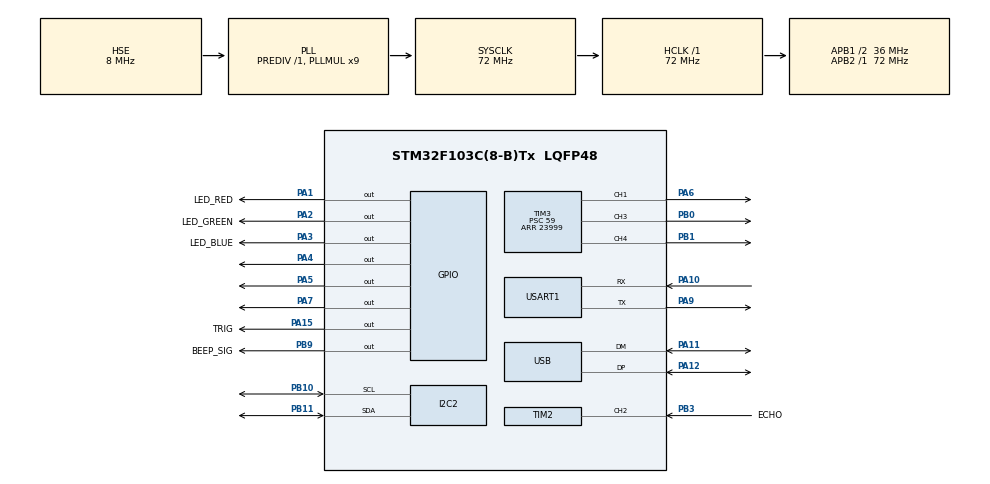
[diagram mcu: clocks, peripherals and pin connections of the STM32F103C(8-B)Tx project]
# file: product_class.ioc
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Dma.Request0=USART1_RX
Dma.Request1=USART1_TX
Dma.USART1_RX.0.Direction=DMA_PERIPH_TO_MEMORY
Dma.USART1_RX.0.Instance=DMA1_Channel5
Dma.USART1_RX.0.MemDataAlignment=DMA_MDATAALIGN_BYTE
Dma.USART1_RX.0.MemInc=DMA_MINC_ENABLE
Dma.USART1_RX.0.Mode=DMA_NORMAL
Dma.USART1_RX.0.PeriphDataAlignment=DMA_PDATAALIGN_BYTE
Dma.USART1_RX.0.PeriphInc=DMA_PINC_DISABLE
Dma.USART1_RX.0.Priority=DMA_PRIORITY_LOW
Dma.USART1_TX.1.Direction=DMA_MEMORY_TO_PERIPH
Dma.USART1_TX.1.Instance=DMA1_Channel4
Dma.USART1_TX.1.MemDataAlignment=DMA_MDATAALIGN_BYTE
Dma.USART1_TX.1.MemInc=DMA_MINC_ENABLE
Dma.USART1_TX.1.Mode=DMA_NORMAL
Dma.USART1_TX.1.PeriphDataAlignment=DMA_PDATAALIGN_BYTE
Dma.USART1_TX.1.PeriphInc=DMA_PINC_DISABLE
Dma.USART1_TX.1.Priority=DMA_PRIORITY_LOW
Mcu.Family=STM32F1
Mcu.Name=STM32F103C(8-B)Tx
Mcu.Package=LQFP48
NVIC.DMA1_Channel4_IRQn=true\:0\:0\:false\:false\:true\:false\:true\:true
NVIC.DMA1_Channel5_IRQn=true\:0\:0\:false\:false\:true\:false\:true\:true
NVIC.PriorityGroup=NVIC_PRIORITYGROUP_4
NVIC.TIM2_IRQn=true\:0\:0\:false\:false\:true\:true\:true\:true
NVIC.USART1_IRQn=true\:0\:0\:false\:false\:true\:true\:true\:true
NVIC.USB_LP_CAN1_RX0_IRQn=true\:0\:0\:false\:false\:true\:false\:true\:true
PA1.GPIO_Label=LED_RED
PA1.GPIO_PuPd=GPIO_NOPULL
PA1.Signal=GPIO_Output
PA10.Mode=Asynchronous
PA10.Signal=USART1_RX
PA11.Mode=Device
PA11.Signal=USB_DM
PA12.Mode=Device
PA12.Signal=USB_DP
PA13.Mode=Serial_Wire
PA13.Signal=SYS_JTMS-SWDIO
PA14.Mode=Serial_Wire
PA14.Signal=SYS_JTCK-SWCLK
PA15.GPIO_Label=TRIG
PA15.Signal=GPIO_Output
PA2.GPIO_Label=LED_GREEN
PA2.Signal=GPIO_Output
PA3.GPIO_Label=LED_BLUE
PA3.Signal=GPIO_Output
PA4.Signal=GPIO_Output
PA5.Signal=GPIO_Output
PA6.Signal=S_TIM3_CH1
PA7.Signal=GPIO_Output
PA9.Mode=Asynchronous
PA9.Signal=USART1_TX
PB0.Signal=S_TIM3_CH3
PB1.Signal=S_TIM3_CH4
PB10.Mode=I2C
PB10.Signal=I2C2_SCL
PB11.Mode=I2C
PB11.Signal=I2C2_SDA
PB3.GPIO_Label=ECHO
PB3.GPIO_PuPd=GPIO_NOPULL
PB3.Signal=S_TIM2_CH2
PB9.GPIO_Label=BEEP_SIG
PB9.Signal=GPIO_Output
PD0-OSC_IN.Mode=HSE-External-Oscillator
PD0-OSC_IN.Signal=RCC_OSC_IN
PD1-OSC_OUT.Mode=HSE-External-Oscillator
PD1-OSC_OUT.Signal=RCC_OSC_OUT
ProjectManager.HeapSize=0x200
ProjectManager.StackSize=0x400
ProjectManager.TargetToolchain=MDK-ARM V5.32
RCC.AHBFreq_Value=72000000
RCC.APB1CLKDivider=RCC_HCLK_DIV2
RCC.APB1Freq_Value=36000000
RCC.APB1TimFreq_Value=72000000
RCC.APB2Freq_Value=72000000
RCC.APB2TimFreq_Value=72000000
RCC.HCLKFreq_Value=72000000
RCC.PLLMUL=RCC_PLL_MUL9
RCC.PLLSourceVirtual=RCC_PLLSOURCE_HSE
RCC.SYSCLKFreq_VALUE=72000000
RCC.SYSCLKSource=RCC_SYSCLKSOURCE_PLLCLK
RCC.USBFreq_Value=72000000
SH.S_TIM2_CH2.0=TIM2_CH2,Input_Capture2_from_TI2
SH.S_TIM3_CH1.0=TIM3_CH1,PWM Generation1 CH1
SH.S_TIM3_CH3.0=TIM3_CH3,PWM Generation3 CH3
SH.S_TIM3_CH4.0=TIM3_CH4,PWM Generation4 CH4
TIM2.AutoReloadPreload=TIM_AUTORELOAD_PRELOAD_ENABLE
TIM2.Channel-Input_Capture1_from_TI2_63=TIM_CHANNEL_1
TIM2.Channel-Input_Capture2_from_TI2=TIM_CHANNEL_2
TIM2.ICPolarity_CH1=TIM_INPUTCHANNELPOLARITY_FALLING
TIM2.Period=65535
TIM2.Prescaler=72-1
TIM3.AutoReloadPreload=TIM_AUTORELOAD_PRELOAD_ENABLE
TIM3.Channel-PWM\ Generation1\ CH1=TIM_CHANNEL_1
TIM3.Channel-PWM\ Generation3\ CH3=TIM_CHANNEL_3
TIM3.Channel-PWM\ Generation4\ CH4=TIM_CHANNEL_4
TIM3.Period=23999
TIM3.Prescaler=59
TIM3.TIM_MasterOutputTrigger=TIM_TRGO_RESET
TIM3.TIM_MasterSlaveMode=TIM_MASTERSLAVEMODE_DISABLE
USART1.VirtualMode=VM_ASYNC
USB_DEVICE.CLASS_NAME_FS=CDC
USB_DEVICE.VirtualMode=Cdc
USB_DEVICE.VirtualModeFS=Cdc_FS
VP_TIM2_VS_ClockSourceINT.Mode=Internal
VP_TIM2_VS_indirect_ch2.Mode=Input_Capture1_from_TI2_63
VP_TIM3_VS_ClockSourceINT.Mode=Internal
VP_USB_DEVICE_VS_USB_DEVICE_CDC_FS.Mode=CDC_FS
board=custom

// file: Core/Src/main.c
/* USER CODE BEGIN Header */
/**
 ******************************************************************************
 * @file           : main.c
 * @brief          : Main program body
 ******************************************************************************
 * @attention
 *
 * Copyright (c) 2025 STMicroelectronics.
 * All rights reserved.
 *
 * This software is licensed under terms that can be found in the LICENSE file
 * in the root directory of this software component.
 * If no LICENSE file comes with this software, it is provided AS-IS.
 *
 ******************************************************************************
 */
/* USER CODE END Header */
#include "main.h"
#include "dma.h"
#include "i2c.h"
#include "tim.h"
#include "usart.h"
#include "usb_device.h"
#include "gpio.h"

/* USER CODE BEGIN Includes */
#include "headfile.h"

/* USER CODE END Includes */

/* USER CODE BEGIN PV */
unsigned char BMP1[] =
{
	0x00,0x03,0x05,0x09,0x11,0xFF,0x11,0x89,0x05,0xC3,0x00,0xE0,0x00,0xF0,0x00,0xF8,
	0x00,0x00,0x00,0x00,0x00,0x00,0x00,0x44,0x28,0xFF,0x11,0xAA,0x44,0x00,0x00,0x00,
	0x00,0x00,0x00,0x00,0x00,0x00,0x00,0x00,0x00,0x00,0x00,0x00,0x00,0x00,0x00,0x00,
	0x00,0x00,0x00,0x00,0x00,0x00,0x00,0x00,0x00,0x00,0x00,0x00,0x00,0x00,0x00,0x00,
	0x00,0x00,0x00,0x00,0x00,0x00,0x00,0x00,0x00,0x00,0x00,0x00,0x00,0x00,0x00,0x00,
	0x00,0x00,0x00,0x00,0x00,0x00,0x00,0x00,0x00,0x00,0x83,0x01,0x38,0x44,0x82,0x92,
	0x92,0x74,0x01,0x83,0x00,0x00,0x00,0x00,0x00,0x00,0x00,0x7C,0x44,0xC7,0x01,0x7D,
	0x7D,0x7D,0x7D,0x01,0x7D,0x7D,0x7D,0x7D,0x01,0x7D,0x7D,0x7D,0x7D,0x01,0xFF,0x00,
	0x00,0x00,0x00,0x00,0x00,0x01,0x00,0x01,0x00,0x01,0x00,0x01,0x00,0x01,0x00,0x01,
	0x00,0x00,0x00,0x00,0x00,0x00,0x00,0x00,0x00,0x01,0x01,0x00,0x00,0x00,0x00,0x00,
	0x00,0x00,0x00,0x00,0x00,0x00,0x00,0x00,0x00,0x00,0x00,0x00,0x00,0x00,0x00,0x00,
	0x00,0x00,0x00,0x00,0x00,0x00,0x00,0x00,0x00,0x00,0x00,0x00,0x00,0x00,0x00,0x00,
	0x00,0x00,0x00,0x00,0x00,0x00,0x00,0x00,0x00,0x00,0x00,0x00,0x00,0x00,0x00,0x00,
	0x00,0x00,0x00,0x00,0x00,0x00,0x00,0x00,0x00,0x00,0x01,0x01,0x00,0x00,0x00,0x00,
	0x00,0x00,0x01,0x01,0x00,0x00,0x00,0x00,0x00,0x00,0x00,0x00,0x00,0x01,0x01,0x01,
	0x01,0x01,0x01,0x01,0x01,0x01,0x01,0x01,0x01,0x01,0x01,0x01,0x01,0x01,0x01,0x00,
	0x00,0x00,0x00,0x00,0x00,0x00,0x00,0x00,0x00,0x40,0x40,0x40,0x40,0x40,0x00,0x00,
	0x6D,0x6D,0x6D,0x6D,0x6D,0x00,0x00,0x60,0x60,0x60,0x60,0x60,0x00,0x00,0x40,0x40,
	0x40,0x40,0x40,0x00,0x00,0x00,0x00,0x00,0x00,0x00,0x00,0x00,0x00,0x00,0x00,0x00,
	0x00,0x00,0x00,0x00,0x00,0x00,0x00,0x00,0x00,0x00,0x00,0x00,0x00,0x00,0x00,0x00,
	0x00,0x00,0x00,0x00,0x00,0x00,0x00,0x00,0x00,0x00,0x00,0x00,0x00,0x00,0x00,0x00,
	0x00,0x00,0x00,0x00,0x00,0x00,0x00,0x00,0x00,0x00,0x00,0x00,0x00,0x00,0x00,0x00,
	0x00,0x00,0x00,0x00,0x00,0x00,0x00,0x00,0x00,0x00,0x00,0x00,0x00,0x00,0x00,0x00,
	0x00,0x00,0x00,0x00,0x00,0x00,0x00,0x00,0x00,0x00,0x00,0x00,0x00,0x00,0x00,0x00,
	0x00,0x00,0x00,0x00,0x00,0x00,0x00,0x00,0x00,0xDB,0xDB,0xDB,0xDB,0xDB,0x00,0x00,
	0xDB,0xDB,0xDB,0xDB,0xDB,0x00,0x00,0xDB,0xDB,0xDB,0xDB,0xDB,0x00,0x00,0xDB,0xDB,
	0xDB,0xDB,0xDB,0x00,0x00,0xDA,0xDA,0xDA,0xDA,0xDA,0x00,0x00,0xD8,0xD8,0xD8,0xD8,
	0xD8,0x00,0x00,0xC0,0xC0,0xC0,0xC0,0xC0,0x00,0x00,0xC0,0xC0,0xC0,0xC0,0xC0,0x00,
	0x00,0xC0,0xC0,0xC0,0xC0,0xC0,0x00,0x00,0xC0,0xC0,0xC0,0xC0,0xC0,0x00,0x00,0x80,
	0x80,0x80,0x80,0x80,0x00,0x00,0x00,0x00,0x00,0x00,0x00,0x00,0x00,0x00,0x00,0x00,
	0x00,0x00,0x00,0x00,0x00,0x00,0x00,0x00,0x00,0x00,0x00,0x00,0x00,0x00,0x00,0x00,
	0x00,0x00,0x00,0x00,0x00,0x00,0x00,0x00,0x00,0x00,0x00,0x00,0x00,0x00,0x00,0x00,
	0x00,0x00,0x00,0x00,0x00,0x00,0x00,0x00,0x00,0x06,0x06,0x06,0x06,0x06,0x00,0x00,
	0x06,0x06,0x06,0x06,0x06,0x00,0x00,0x06,0x06,0x06,0x06,0x06,0x00,0x00,0x06,0x06,
	0x06,0x06,0x06,0x00,0x00,0x06,0x06,0x06,0xE6,0x66,0x20,0x00,0x06,0x06,0x86,0x06,
	0x06,0x00,0x00,0x06,0x06,0x06,0x06,0x86,0x00,0x00,0x06,0x06,0x06,0x06,0x06,0x00,
	0x00,0x86,0x86,0x86,0x86,0x86,0x80,0x80,0x86,0x86,0x06,0x86,0x86,0xC0,0xC0,0x86,
	0x86,0x86,0x06,0x06,0xD0,0x30,0x76,0x06,0x06,0x06,0x06,0x00,0x00,0x06,0x06,0x06,
	0x06,0x06,0x00,0x00,0x06,0x06,0x06,0x06,0x06,0x00,0x00,0x06,0x06,0x06,0x06,0x06,
	0x00,0x00,0x06,0x06,0x06,0x06,0x06,0x00,0x00,0x00,0x00,0x00,0x00,0x00,0x00,0x00,
	0x00,0x00,0x00,0x00,0x00,0x00,0x00,0x00,0x00,0x00,0x00,0x00,0x00,0x00,0x00,0x00,
	0x00,0x00,0x00,0x00,0x00,0x00,0x00,0x00,0x00,0x00,0x00,0x00,0x00,0x00,0x00,0x00,
	0x00,0x00,0x00,0x00,0x00,0x00,0x00,0x00,0x00,0x00,0x60,0x1C,0x00,0xFE,0x00,0x01,
	0x02,0x00,0xC4,0x18,0x20,0x02,0x9E,0x63,0xB2,0x0E,0x00,0xFF,0x81,0x81,0xFF,0x00,
	0x00,0x80,0x40,0x30,0x0F,0x00,0x00,0x00,0x00,0xFF,0x00,0x23,0xEA,0xAA,0xBF,0xAA,
	0xEA,0x03,0x3F,0x00,0xFF,0x00,0x00,0x00,0x00,0x00,0x00,0x00,0x00,0x00,0x00,0x00,
	0x00,0x00,0x00,0x00,0x00,0x00,0x00,0x00,0x00,0x00,0x00,0x00,0x00,0x00,0x00,0x00,
	0x00,0x00,0x00,0x00,0x00,0x00,0x00,0x00,0x00,0x00,0x00,0x00,0x00,0x00,0x00,0x00,
	0x00,0x00,0x00,0x80,0x80,0x80,0x00,0x00,0x00,0x00,0x00,0x80,0x80,0x80,0x00,0x00,
	0x00,0x00,0x00,0x00,0x00,0x00,0x00,0x00,0x00,0x00,0x00,0x00,0x00,0x00,0x00,0x00,
	0x00,0x00,0x00,0x00,0x00,0x00,0x00,0x00,0x0E,0x0C,0x08,0x00,0x00,0x01,0x01,0x01,
	0x01,0x01,0x00,0x00,0x00,0x01,0x00,0x00,0x00,0x01,0x00,0x81,0x80,0x80,0x81,0x80,
	0x81,0x80,0x80,0x80,0x80,0x01,0x01,0x01,0x01,0x00,0x00,0x00,0x01,0x00,0x00,0x00,
	0x01,0x00,0x01,0x01,0x09,0x0C,0x0E,0x00,0x00,0x00,0x00,0x00,0x00,0x00,0x00,0x00,
	0x00,0x00,0x00,0x00,0x00,0x00,0x00,0x00,0xC0,0xC0,0xC0,0xC0,0xC0,0xC0,0xC0,0xC0,
	0xC0,0xC0,0xC0,0xC0,0xC0,0xC0,0xC0,0xC0,0xC0,0xC0,0xC0,0xC0,0xC0,0xC0,0xC0,0x00,
	0x00,0x1E,0x21,0x40,0x40,0x50,0x21,0x5E,0x00,0x1E,0x21,0x40,0x40,0x50,0x21,0x5E,
	0x00,0x00,0x00,0x00,0x00,0x00,0x00,0x00,0x00,0x00,0x00,0x00,0x00,0x00,0x00,0x00,
	0x00,0x00,0x00,0x00,0x00,0x00,0x00,0x00,0x00,0x00,0x00,0x00,0x00,0x00,0x00,0x00,
	0x00,0x00,0x00,0x00,0x00,0x00,0x00,0x00,0x00,0x00,0x00,0xFF,0xFF,0xC1,0xC1,0xFF,
	0xFF,0xC1,0xC1,0xFF,0xFF,0x00,0x00,0x00,0x00,0x00,0x00,0x00,0x00,0x00,0x00,0x00,
	0x00,0x00,0x00,0x00,0x00,0x00,0x00,0x00,0x00,0x00,0x00,0x00,0x00,0x00,0x00,0x00,
	0x00,0x00,0x00,0x00,0x00,0x00,0x00,0x00,0xFF,0xFF,0x80,0xFC,0xF3,0xEF,0xF3,0xFC,
	0x80,0xFF,0x80,0xEE,0xEE,0xEE,0xF5,0xFB,0xFF,0x9C,0xBE,0xB6,0xB6,0x88,0xFF,0x00,/*"D:\DreamSpark\OLED\MP3_UI.bmp",0*/
};

unsigned char RX_USART_1[64];
uint16_t RX_USART_1_LEN;
uint16_t RX_FLAG;

uint8_t  myUsbRxData[64] = { 0 };   // 接收到的数据
uint16_t myUsbRxNum = 0;

uint8_t  Transmit_Data[64] = { 0 };
Connectivity_Protocal_Struct Receive_data;
Connectivity_Protocal_Struct Transmit_data;

uint16_t rubbish_flag = 0;  //舵机转动角度flag
uint16_t fan_flag = 0;      // 风扇转动flag
uint16_t oled_flag = 1;     // oled屏
/* USER CODE END PV */

void SystemClock_Config(void);

/* USER CODE BEGIN 0 */
static void Delay(__IO uint32_t nCount)	 //简单的延时函数
{
	for(; nCount != 0; nCount--);
}

/* USER CODE END 0 */

int main(void)

{

  /* MCU Configuration--------------------------------------------------------*/

  /* Reset of all peripherals, Initializes the Flash interface and the Systick. */
  HAL_Init();

  /* Configure the system clock */
  SystemClock_Config();

  /* Initialize all configured peripherals */
  MX_GPIO_Init();
  MX_DMA_Init();
  MX_TIM2_Init();
  MX_TIM3_Init();
  MX_I2C2_Init();
  MX_USART1_UART_Init();
  MX_USB_DEVICE_Init();
  /* USER CODE BEGIN 2 */

  //	HAL_TIM_Base_Start_IT(&htim2);   // 定时器中断初始化，用于轮询(测试版，现在单位改了)
  HAL_TIM_Base_Start_IT(&htim2);
  HAL_TIM_IC_Start(&htim2,TIM_CHANNEL_2);
  HAL_TIM_IC_Start_IT(&htim2, TIM_CHANNEL_2);  // 通道二输入捕获，用于超声波

  //	HAL_TIM_PWM_Start(&htim3,TIM_CHANNEL_1);
  SG90_PWM_START(&SG90_TIM, SG90_TIM_CHANNEL);

	// 风扇初始化配置
	TB6612_SET_START(&TB6612_TIM, TB6612_TIM_CHANNEL_A);
	TB6612_SET_DIRECTION(TB6612_PORT_A, TB6612_UP);
	TB6612_SET(TB6612_PORT,TB6612_PORT_PIN,TB6612_WORK);

  uint16_t recv_degree = 0;

	// 温湿度传感器
	DHT11_Data_TypeDef DHT11_Data;
	DHT11_Init ();

	//oled
	Systick_Init();
	IIC_GPIO_Config();
	OLED_Init();

  /* USER CODE END 2 */

  /* Infinite loop */
  while (1)
  {

    /* USER CODE BEGIN 3 */
		Get_distance();

		Delay(0x1fffff);
		// 温湿度传感器
		if( DHT11_Read_TempAndHumidity ( & DHT11_Data ) == SUCCESS) ;		else ;

		// oled
		if(oled_flag){
			OLED_ShowStr(0, 3, (unsigned char *)"           DUT   ", 1);  // 测试6*8字符
			OLED_ShowStr(0, 4, (unsigned char *)"  class2group7  ", 2); // 测试8*16字符
		}
		else OLED_Fill(0x00); // 全屏灭  OLED_Fill(0xFF); // 全屏点亮

		// 超声波
		if(ultra_sound.distance < 0.2) beep_on(); else beep_off();

		// 舵机
		switch(rubbish_flag){
			case 0:
				SG90_PWM_CONTROL(&SG90_TIM, SG90_TIM_CHANNEL, 0);
				break;
			case 1:
				SG90_PWM_CONTROL(&SG90_TIM, SG90_TIM_CHANNEL, 45);
				break;
			case 2:
				SG90_PWM_CONTROL(&SG90_TIM, SG90_TIM_CHANNEL, 90);
				break;
			case 3:
				SG90_PWM_CONTROL(&SG90_TIM, SG90_TIM_CHANNEL, 135);
				break;
			case 4:
				SG90_PWM_CONTROL(&SG90_TIM, SG90_TIM_CHANNEL, 180);
				break;
		}

		// 风扇速度（温度控制）
		if(DHT11_Data.temp_int > 25) fan_flag=1;
		else fan_flag = 0;
		if(fan_flag) TB6612_SET_SPEED(&TB6612_TIM, TB6612_TIM_CHANNEL_A, 25);
		else TB6612_SET_SPEED(&TB6612_TIM, TB6612_TIM_CHANNEL_A, 0);

		/////
		Set_Data_Float(&Transmit_data,ultra_sou ,&(ultra_sound.distance) ,1);
		Set_Data_uint8_t(&Transmit_data,ultra_sou ,&(DHT11_Data.humi_int) ,1,4);
		Set_Data_uint8_t(&Transmit_data,ultra_sou ,&(DHT11_Data.temp_int) ,1,5);

		Set_Struct(&Transmit_data,COMMOND);
		Struct_To_Data(&Transmit_data,Transmit_Data);
		HAL_UART_Transmit_DMA(&huart1,Transmit_Data,64);

		Data_To_Struct(&Receive_data,RX_USART_1);
		if(Receive_data.head[0] == 0xa5 && Receive_data.back == 0xff)
		{
			if(Receive_data.data[0] == 0x01)
			{
				oled_flag = 1;
			}
			else
			{
				oled_flag = 0;
			}

			rubbish_flag = Receive_data.data[1];
//			if(Receive_data.data[1] == 0x01)
//			{
//
//			}
//			else
//			{
//
//			}

		}

//		Set_Data_Float(&Transmit_data,ultra_sou ,&(ultra_sound.distance) ,1);
//		Set_Struct(&Transmit_data,COMMOND);
//		Struct_To_Data(&Transmit_data,Transmit_Data);
//		HAL_UART_Transmit_DMA(&huart1,Transmit_Data,64);
  }
  /* USER CODE END 3 */
}

void SystemClock_Config(void)
{
  RCC_OscInitTypeDef RCC_OscInitStruct = {0};
  RCC_ClkInitTypeDef RCC_ClkInitStruct = {0};
  RCC_PeriphCLKInitTypeDef PeriphClkInit = {0};

  /** Initializes the RCC Oscillators according to the specified parameters
  * in the RCC_OscInitTypeDef structure.
  */
  RCC_OscInitStruct.OscillatorType = RCC_OSCILLATORTYPE_HSE;
  RCC_OscInitStruct.HSEState = RCC_HSE_ON;
  RCC_OscInitStruct.HSEPredivValue = RCC_HSE_PREDIV_DIV1;
  RCC_OscInitStruct.HSIState = RCC_HSI_ON;
  RCC_OscInitStruct.PLL.PLLState = RCC_PLL_ON;
  RCC_OscInitStruct.PLL.PLLSource = RCC_PLLSOURCE_HSE;
  RCC_OscInitStruct.PLL.PLLMUL = RCC_PLL_MUL9;
  if (HAL_RCC_OscConfig(&RCC_OscInitStruct) != HAL_OK)
  {
    Error_Handler();
  }

  /** Initializes the CPU, AHB and APB buses clocks
  */
  RCC_ClkInitStruct.ClockType = RCC_CLOCKTYPE_HCLK|RCC_CLOCKTYPE_SYSCLK
                              |RCC_CLOCKTYPE_PCLK1|RCC_CLOCKTYPE_PCLK2;
  RCC_ClkInitStruct.SYSCLKSource = RCC_SYSCLKSOURCE_PLLCLK;
  RCC_ClkInitStruct.AHBCLKDivider = RCC_SYSCLK_DIV1;
  RCC_ClkInitStruct.APB1CLKDivider = RCC_HCLK_DIV2;
  RCC_ClkInitStruct.APB2CLKDivider = RCC_HCLK_DIV1;

  if (HAL_RCC_ClockConfig(&RCC_ClkInitStruct, FLASH_LATENCY_2) != HAL_OK)
  {
    Error_Handler();
  }
  PeriphClkInit.PeriphClockSelection = RCC_PERIPHCLK_USB;
  PeriphClkInit.UsbClockSelection = RCC_USBCLKSOURCE_PLL;
  if (HAL_RCCEx_PeriphCLKConfig(&PeriphClkInit) != HAL_OK)
  {
    Error_Handler();
  }
}

/* USER CODE BEGIN 4 */

// 定时器中断回调函数（用于轮询器）这个需要修改一下定时器
// void HAL_TIM_PeriodElapsedCallback(TIM_HandleTypeDef *htim)
//{

//	if(htim == (&htim2))
//	{
////		OS_IT_RUN();
//	}
//
//}

/* USER CODE END 4 */

void Error_Handler(void)
{
  __disable_irq();
  while (1)
  {
  }
}
